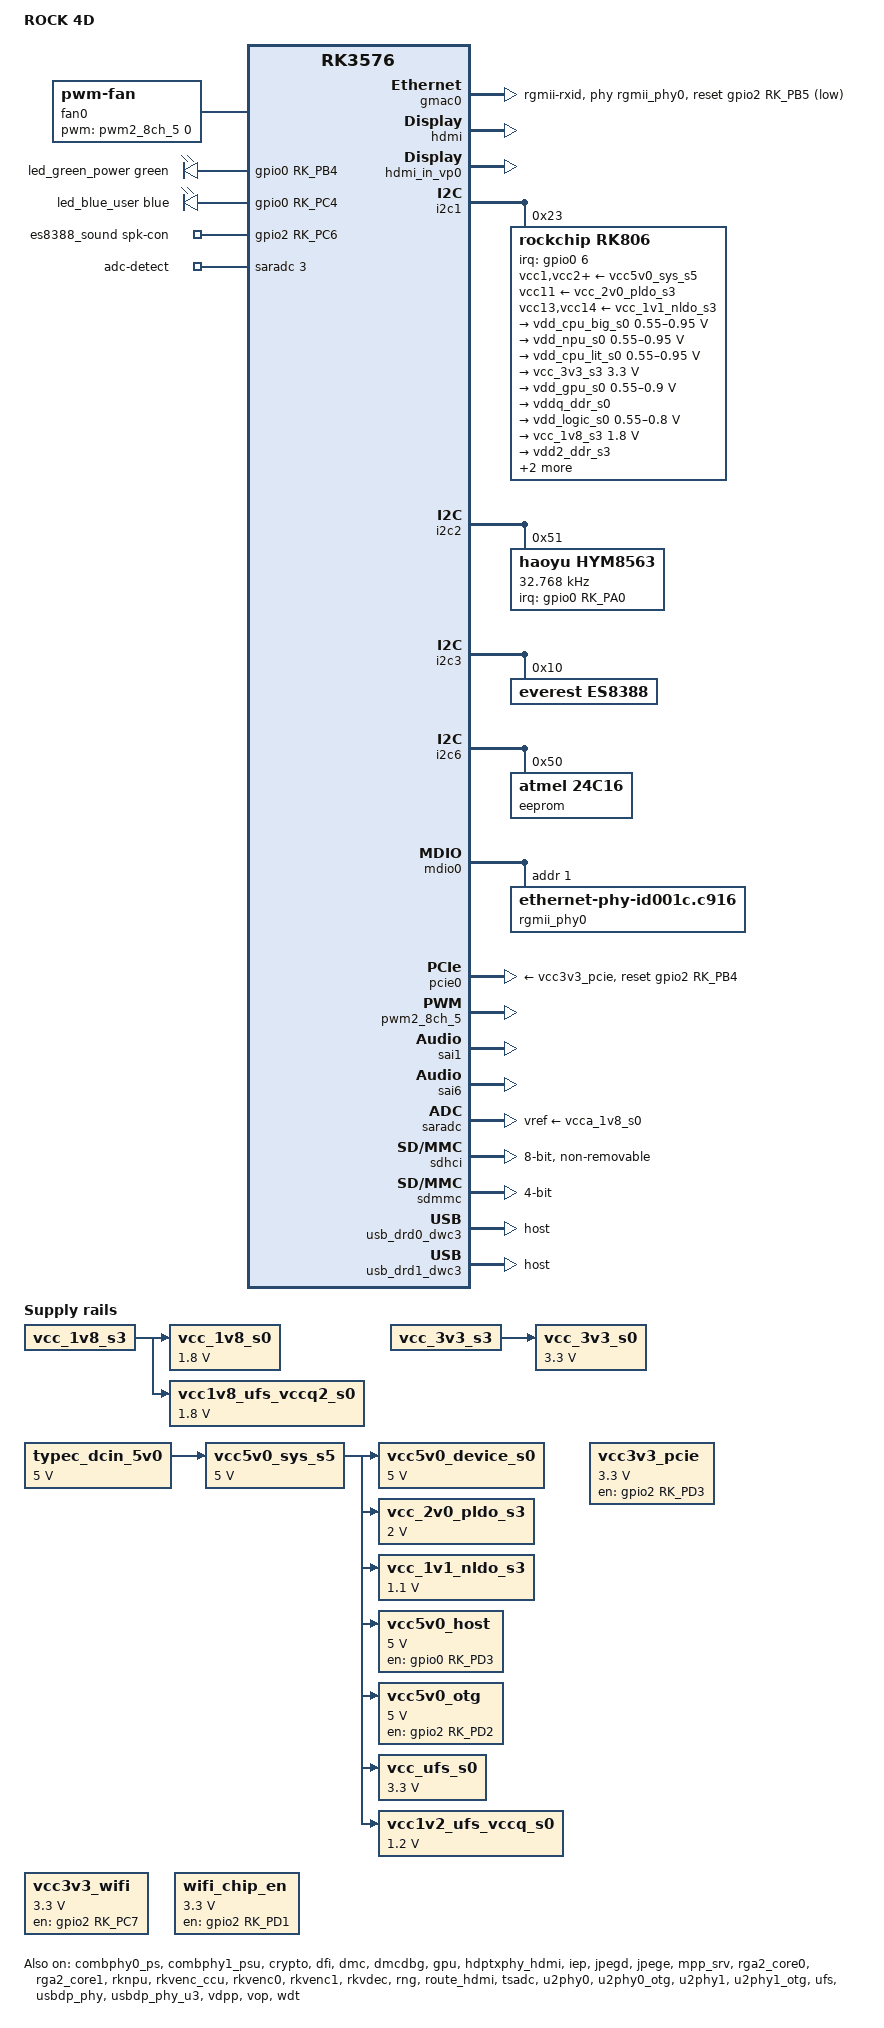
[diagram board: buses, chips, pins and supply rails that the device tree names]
// SPDX-License-Identifier: (GPL-2.0+ OR MIT)
/*
 * Copyright (c) 2024 Rockchip Electronics Co., Ltd.
 * Copyright (c) 2025 Radxa Computer (Shenzhen) Co., Ltd.
 * Copyright (c) 2026 Flippy <flippy@sina.com>
 *
 */

/dts-v1/;
#include <dt-bindings/usb/pd.h>
#include <dt-bindings/gpio/gpio.h>
#include <dt-bindings/leds/common.h>
#include <dt-bindings/pwm/pwm.h>
#include <dt-bindings/pinctrl/rockchip.h>
#include <dt-bindings/input/rk-input.h>
#include <dt-bindings/display/drm_mipi_dsi.h>
#include <dt-bindings/display/rockchip_vop.h>
#include <dt-bindings/sensor-dev.h>
#include "rk3576.dtsi"
#include "rk3576-gpio-line-names.dtsi"

/ {
	model = "ROCK 4D";
	compatible = "radxa,rock-4d", "rockchip,rk3576";

	aliases: aliases {
		mmc0 = &sdmmc;
		mmc1 = &sdhci;
		mmc2 = &sdio;
	};

	chosen: chosen {
		bootargs = "earlycon=uart8250,mmio32,0x2ad40000 console=ttyFIQ,15000000n8";
	};

	fiq_debugger: fiq-debugger {
		compatible = "rockchip,fiq-debugger";
		rockchip,serial-id = <0>;
		rockchip,wake-irq = <0>;
		/* If enable uart uses irq instead of fiq */
		rockchip,irq-mode-enable = <1>;
		rockchip,baudrate = <1500000>;  /* Only 115200 and 1500000 */
		interrupts = <GIC_SPI 389 IRQ_TYPE_LEVEL_LOW>;
		pinctrl-names = "default";
		pinctrl-0 = <&uart0m0_xfer>;
		status = "okay";
	};

	firmware {
		optee: optee {
			compatible = "linaro,optee-tz";
			method = "smc";
		};
	};

	reserved_memory: reserved-memory {
		#address-cells = <2>;
		#size-cells = <2>;
		ranges;

		/* Cma: 256MB */
		cma: cma {
			compatible = "shared-dma-pool";
			reusable;
			size = <0x0 (256 * 0x100000)>;
			linux,cma-default;
		};

		drm_logo: drm-logo@0 {
			compatible = "rockchip,drm-logo";
			reg = <0x0 0x0 0x0 0x0>;
		};

		drm_cubic_lut: drm-cubic-lut@0 {
			compatible = "rockchip,drm-cubic-lut";
			reg = <0x0 0x0 0x0 0x0>;
		};

		ramoops: ramoops@40110000 {
			compatible = "ramoops";
			/* 0x40110000 to 0x401f0000 is for ramoops */
			reg = <0x0 0x40110000 0x0 0xe0000>;
			boot-log-size = <0x8000>;	/* do not change */
			boot-log-count = <0x1>;		/* do not change */
			console-size = <0x80000>;
			pmsg-size = <0x30000>;
			ftrace-size = <0x00000>;
			record-size = <0x14000>;
		};
	};

	fan0: pwm-fan {
		compatible = "pwm-fan";
		#cooling-cells = <2>;
		cooling-levels = <0 100 125 150 200 255>;
		pwms = <&pwm2_8ch_5 0 25000 PWM_POLARITY_INVERTED>;

		rockchip,temp-trips = <
			40000    1
			50000    2
			60000    3
			65000    4
			70000    5
		>;
		status = "okay";
	};

	gpio_leds: gpio-leds {
		compatible = "gpio-leds";

		led_green_power: power-led {
			color = <LED_COLOR_ID_GREEN>;
			function = LED_FUNCTION_POWER;
			gpios = <&gpio0 RK_PB4 GPIO_ACTIVE_HIGH>;
			linux,default-trigger = "default-on";
		};

		led_blue_user: user-led {
			color = <LED_COLOR_ID_BLUE>;
			function = LED_FUNCTION_HEARTBEAT;
			gpios = <&gpio0 RK_PC4 GPIO_ACTIVE_HIGH>;
			linux,default-trigger = "heartbeat";
		};
	};

	/*
	 * TYPE-C fixed 5v power only
	 * To saradc_vin7 (up resistor=100K, down resistor=7.5K)
	 */
	typec_dcin_5v0: regulator-typec-dcin-5v0 {
		compatible = "regulator-fixed";
		regulator-name = "typec_dcin_5v0";
		regulator-always-on;
		regulator-boot-on;
		regulator-min-microvolt = <5000000>;
		regulator-max-microvolt = <5000000>;
	};

	/*
	 * BCT72901: Over-Voltage Protection Load Switch with Surge Protection
	 * The default OVP threshold is 5.95V
	 * Rdson: 30.7mR
	 * Maximum Continuous Current of switch IN-OUT: 4.5A
	 */
	vcc5v0_sys_s5: regulator-vcc5v0-sys-s5 {
		compatible = "regulator-fixed";
		regulator-name = "vcc5v0_sys_s5";
		regulator-always-on;
		regulator-boot-on;
		regulator-min-microvolt = <5000000>;
		regulator-max-microvolt = <5000000>;
		vin-supply = <&typec_dcin_5v0>;
	};

	/*
	 * TBL3401(AO3401): PMOS SOT-23-3L -20V -3A 80mR
	 */
	vcc5v0_device_s0: regulator-vcc5v0-device-s0 {
		compatible = "regulator-fixed";
		regulator-name = "vcc5v0_device_s0";
		regulator-always-on;
		regulator-boot-on;
		regulator-min-microvolt = <5000000>;
		regulator-max-microvolt = <5000000>;
		vin-supply = <&vcc5v0_sys_s5>;
	};

	/*
	 * TMI3112H:
	 * PWM: 2.3Mhz
	 * Input voltage range: 2.7V to 5.5V
	 * Max output currency: 2A
	 */
	vcc_2v0_pldo_s3: regulator-vcc-2v0-pldo-s3 {
		compatible = "regulator-fixed";
		regulator-name = "vcc_2v0_pldo_s3";
		regulator-boot-on;
		regulator-always-on;
		regulator-min-microvolt = <2000000>;
		regulator-max-microvolt = <2000000>;
		vin-supply = <&vcc5v0_sys_s5>;
	};

	/*
	 * TMI3112H:
	 * PWM: 2.3Mhz
	 * Input voltage range: 2.7V to 5.5V
	 * Max output currency: 2A
	 */
	vcc_1v1_nldo_s3: regulator-vcc-1v1-nldo-s3 {
		compatible = "regulator-fixed";
		regulator-name = "vcc_1v1_nldo_s3";
		regulator-boot-on;
		regulator-always-on;
		regulator-min-microvolt = <1100000>;
		regulator-max-microvolt = <1100000>;
		vin-supply = <&vcc5v0_sys_s5>;
	};

	/*
	 * WNM2016-3 (NMOS) SOT-23-5L 20V 3.2A 28mR
	 */
	vcc_1v8_s0: regulator-vcc-1v8-s0 {
		compatible = "regulator-fixed";
		regulator-name = "vcc_1v8_s0";
		regulator-boot-on;
		regulator-always-on;
		regulator-min-microvolt = <1800000>;
		regulator-max-microvolt = <1800000>;
		vin-supply = <&vcc_1v8_s3>;
	};

	/*
	 * SGM2590D: SOT-23-5 power distribution switch
	 * Input voltage range: 2.5V to 6V
	 * Current limit range: 0.1A to 3A
	 * Rilim: 2.2kR
	 */
	vcc_3v3_s0: regulator-vcc-3v3-s0 {
		compatible = "regulator-fixed";
		regulator-name = "vcc_3v3_s0";
		regulator-boot-on;
		regulator-always-on;
		regulator-min-microvolt = <3300000>;
		regulator-max-microvolt = <3300000>;
		vin-supply = <&vcc_3v3_s3>;
	};

	/*
	 * SY6280AAC
	 */
	vcc5v0_host: regulator-vcc5v0-host {
		compatible = "regulator-fixed";
		regulator-name = "vcc5v0_host";
		regulator-boot-on;
		regulator-always-on;
		regulator-min-microvolt = <5000000>;
		regulator-max-microvolt = <5000000>;
		enable-active-high;
		gpio = <&gpio0 RK_PD3 GPIO_ACTIVE_HIGH>;
		pinctrl-names = "default";
		pinctrl-0 = <&usb_host_pwren>;
		vin-supply = <&vcc5v0_sys_s5>;
	};

	/*
	 * SY6280AAC
	 */
	vcc5v0_otg: regulator-vcc5v0-otg {
		compatible = "regulator-fixed";
		regulator-name = "vcc5v0_otg";
		regulator-min-microvolt = <5000000>;
		regulator-max-microvolt = <5000000>;
		enable-active-high;
		gpio = <&gpio2 RK_PD2 GPIO_ACTIVE_HIGH>;
		pinctrl-names = "default";
		pinctrl-0 = <&usb_otg_pwren>;
		vin-supply = <&vcc5v0_sys_s5>;
	};

	/*
	 * TMI3112H:
	 * PWM: 2.3Mhz
	 * Input voltage range: 2.7V to 5.5V
	 * Max output currency: 2A
	 */
	vcc_ufs_s0: regulator-vcc-ufs-s0 {
		compatible = "regulator-fixed";
		regulator-name = "vcc_ufs_s0";
		regulator-boot-on;
		regulator-always-on;
		regulator-min-microvolt = <3300000>;
		regulator-max-microvolt = <3300000>;
		vin-supply = <&vcc5v0_sys_s5>;
	};

	/*
	 * TMI3112H:
	 * PWM: 2.3Mhz
	 * Input voltage range: 2.7V to 5.5V
	 * Max output currency: 2A
	 */
	vcc1v2_ufs_vccq_s0: regulator-vcc1v2-ufs-vccq-s0 {
		compatible = "regulator-fixed";
		regulator-name = "vcc1v2_ufs_vccq_s0";
		regulator-boot-on;
		regulator-always-on;
		regulator-min-microvolt = <1200000>;
		regulator-max-microvolt = <1200000>;
		vin-supply = <&vcc5v0_sys_s5>;
	};

	/*
	 * WNM2015-3 (PMOS) SOT-23-5L -20V -2.4A
	 */
	vcc1v8_ufs_vccq2_s0: vcc1v8-ufs-vccq2-s0 {
		compatible = "regulator-fixed";
		regulator-name = "vcc1v8_ufs_vccq2_s0";
		regulator-boot-on;
		regulator-always-on;
		regulator-min-microvolt = <1800000>;
		regulator-max-microvolt = <1800000>;
		vin-supply = <&vcc_1v8_s3>;
	};

	/*
	 * extend board
	 */
	vcc3v3_pcie: regulator-vcc3v3-pcie {
		compatible = "regulator-fixed";
		regulator-name = "vcc3v3_pcie";
		regulator-min-microvolt = <3300000>;
		regulator-max-microvolt = <3300000>;
		enable-active-high;
		gpios = <&gpio2 RK_PD3 GPIO_ACTIVE_HIGH>;
		startup-delay-us = <5000>;
		pinctrl-names = "default";
		pinctrl-0 = <&pcie_pwr_en>;
	};

	/*
	 * WPM2015-3/TR: PMOS -20V -2.4A 110mR
	 */
	vcc3v3_wifi: regulator-vcc3v3-wifi {
		compatible = "regulator-fixed";
		regulator-name = "vcc3v3_wifi";
		regulator-min-microvolt = <3300000>;
		regulator-max-microvolt = <3300000>;
		regulator-boot-on;
		regulator-always-on;
		enable-active-high;
		gpios = <&gpio2 RK_PC7 GPIO_ACTIVE_HIGH>;
		startup-delay-us = <5000>;
		pinctrl-names = "default";
		pinctrl-0 = <&usb_wifi_power_en>;
	};

	/*
	 * Wifi chip: Quectel FCU760K
	 * pin 18: CHIP_EN
	 */
	wifi_chip_en: wifi-chip-en {
		compatible = "regulator-fixed";
		regulator-name = "wifi_chip_en";
		regulator-min-microvolt = <3300000>;
		regulator-max-microvolt = <3300000>;
		regulator-boot-on;
		regulator-always-on;
		enable-active-high;
		gpios = <&gpio2 RK_PD1 GPIO_ACTIVE_HIGH>;
		startup-delay-us = <5000>;
		pinctrl-names = "default";
		pinctrl-0 = <&wifi_chip_en_pin>;
	};

	hdmi_sound: hdmi-sound {
		compatible = "rockchip,hdmi";
		rockchip,mclk-fs = <128>;
		rockchip,card-name = "rockchip-hdmi0";
		rockchip,cpu = <&sai6>;
		rockchip,codec = <&hdmi>;
		rockchip,jack-det;
	};

	es8388_sound: es8388-sound {
		status = "okay";
		compatible = "rockchip,multicodecs-card";
		rockchip,card-name = "rockchip-es8388";
		io-channels = <&saradc 3>;
		io-channel-names = "adc-detect";
		keyup-threshold-microvolt = <1800000>;
		poll-interval = <100>;
		spk-con-gpio = <&gpio2 RK_PC6 GPIO_ACTIVE_HIGH>;
		rockchip,pre-power-on-delay-ms = <30>;
		rockchip,post-power-down-delay-ms = <40>;
		rockchip,format = "i2s";
		rockchip,mclk-fs = <256>;
		rockchip,cpu = <&sai1>;
		rockchip,codec = <&es8388>;
		rockchip,audio-routing =
			"Headphone", "LOUT1",
			"Headphone", "ROUT1",
			"Speaker", "LOUT2",
			"Speaker", "ROUT2",
			"Headphone", "Headphone Power",
			"Headphone", "Headphone Power",
			"Speaker", "Speaker Power",
			"Speaker", "Speaker Power",
			"LINPUT1", "Main Mic",
			"LINPUT2", "Main Mic",
			"RINPUT1", "Headset Mic",
			"RINPUT2", "Headset Mic";
	};
};

&combphy0_ps {
	status = "okay";
};

&combphy1_psu {
	status = "okay";
};

&cpu_l0 {
	cpu-supply = <&vdd_cpu_lit_s0>;
};

&cpu_b0 {
	cpu-supply = <&vdd_cpu_big_s0>;
};

&crypto {
	status = "okay";
};

/* CAM_31P FPC -> MIPI1 */
&csi2_dphy0 {
	status = "disabled";

	ports {
		#address-cells = <1>;
		#size-cells = <0>;
		port@0 {
			reg = <0>;
			#address-cells = <1>;
			#size-cells = <0>;

			csi2_dphy0_in1: endpoint@1 {
				reg = <1>;
				remote-endpoint = <&i2c5_imx415_out>;
				data-lanes = <1 2 3 4>;
			};
		};

		port@1 {
			reg = <1>;
			#address-cells = <1>;
			#size-cells = <0>;

			csi2_dphy0_out: endpoint@0 {
				reg = <0>;
				remote-endpoint = <&mipi1_csi2_in>;
			};
		};
	};
};

&dfi {
	status = "okay";
};

&display_subsystem {
	clocks = <&hdptxphy_hdmi>;
	clock-names = "hdmi0_phy_pll";
	memory-region = <&drm_logo>, <&drm_cubic_lut>;
	memory-region-names = "drm-logo", "drm-cubic-lut";
	devfreq = <&dmc>;
};

&dmc {
	status = "okay";
	center-supply = <&vdd_ddr_s0>;
	mem-supply = <&vdd_logic_s0>;
};

&dmcdbg {
	status = "okay";
};

&gmac0 {
	clock_in_out = "output";

	phy-handle = <&rgmii_phy0>;
	/* Use rgmii-rxid mode to disable rx delay inside Soc */
	phy-mode = "rgmii-rxid";

	pinctrl-names = "default";
	pinctrl-0 = <&eth0m0_miim
		     &eth0m0_tx_bus2
		     &eth0m0_rx_bus2
		     &eth0m0_rgmii_clk
		     &eth0m0_rgmii_bus
		     &ethm0_clk0_25m_out>;

	tx_delay = <0x20>;
	/* rx_delay = <0x3f>; */

	snps,reset-gpio = <&gpio2 RK_PB5 GPIO_ACTIVE_LOW>;
	snps,reset-active-low;
	/* Reset time is 20ms, 100ms for rtl8211f */
	snps,reset-delays-us = <0 20000 100000>;

	status = "okay";
};

&gpu {
	mali-supply = <&vdd_gpu_s0>;
	status = "okay";
};

&hdmi {
	//cec-enable;

	/* DDC I2C speed: 50khz */
	//ddc-i2c-scl-high-time-ns = <9625>;
	//ddc-i2c-scl-low-time-ns = <10000>;

	/* DDC I2C speed: 100khz */
	//ddc-i2c-scl-high-time-ns = <4812>;
	//ddc-i2c-scl-low-time-ns = <5000>;

	enable-gpios = <&gpio2 RK_PB0 GPIO_ACTIVE_HIGH>;
	status = "okay";
};

&hdmi_in_vp0 {
	status = "okay";
};

&hdptxphy_hdmi {
	status = "okay";
};

&i2c1 {
	status = "okay";

	rk806: pmic@23 {
		compatible = "rockchip,rk806";
		reg = <0x23>;

		interrupt-parent = <&gpio0>;
		interrupts = <6 IRQ_TYPE_LEVEL_LOW>;

		pinctrl-names = "default";
		pinctrl-0 = <&pmic_pins>;

		/* 2800mv-3500mv */
		low_voltage_threshold = <3000>;
		/* 2700mv-3400mv */
		shutdown_voltage_threshold = <2700>;
		/* 140 160 */
		shutdown_temperture_threshold = <160>;
		hotdie_temperture_threshold = <115>;
		/* shutdown sequence */
		shutdown-sequence = <2 2 2 0 2 0 2 1 1 2
					2 2 2 2 2
					1 0 0 0 0 2>;

		/* low power forced shutdown sequence */
		vb-shutdown-sequence = <2 2 2 0 2 0 2 0 0 2
					2 2 2 2 2
					0 0 0 0 0 2>;

		/* 0: restart PMU;
		 * 1: reset all the power off reset registers,
		 *    forcing the state to switch to ACTIVE mode;
		 * 2: Reset all the power off reset registers,
		 *    forcing the state to switch to ACTIVE mode,
		 *    and simultaneously pull down the RESETB PIN for 5mS before releasing
		 */
		pmic-reset-func = <1>;
		/* buck5 external feedback resister disable */
		buck5-feedback-disable;

		vcc1-supply = <&vcc5v0_sys_s5>;
		vcc2-supply = <&vcc5v0_sys_s5>;
		vcc3-supply = <&vcc5v0_sys_s5>;
		vcc4-supply = <&vcc5v0_sys_s5>;
		vcc5-supply = <&vcc5v0_sys_s5>;
		vcc6-supply = <&vcc5v0_sys_s5>;
		vcc7-supply = <&vcc5v0_sys_s5>;
		vcc8-supply = <&vcc5v0_sys_s5>;
		vcc9-supply = <&vcc5v0_sys_s5>;
		vcc10-supply = <&vcc5v0_sys_s5>;
		vcc11-supply = <&vcc_2v0_pldo_s3>;
		vcc12-supply = <&vcc5v0_sys_s5>;
		vcc13-supply = <&vcc_1v1_nldo_s3>;
		vcc14-supply = <&vcc_1v1_nldo_s3>;
		vcca-supply = <&vcc5v0_sys_s5>;

		pwrkey {
			status = "okay";
		};

		regulators {
			vdd_cpu_big_s0: DCDC_REG1 {
				regulator-always-on;
				regulator-boot-on;
				regulator-init-microvolt = <850000>;
				regulator-min-microvolt = <550000>;
				regulator-max-microvolt = <950000>;
				regulator-ramp-delay = <12500>;
				regulator-name = "vdd_cpu_big_s0";
				regulator-enable-ramp-delay = <400>;
				regulator-state-mem {
					regulator-off-in-suspend;
				};
			};

			vdd_npu_s0: DCDC_REG2 {
				regulator-boot-on;
				regulator-min-microvolt = <550000>;
				regulator-max-microvolt = <950000>;
				regulator-ramp-delay = <12500>;
				regulator-name = "vdd_npu_s0";
				regulator-enable-ramp-delay = <400>;
				regulator-state-mem {
					regulator-off-in-suspend;
				};
			};

			vdd_cpu_lit_s0: DCDC_REG3 {
				regulator-always-on;
				regulator-boot-on;
				regulator-init-microvolt = <850000>;
				regulator-min-microvolt = <550000>;
				regulator-max-microvolt = <950000>;
				regulator-ramp-delay = <12500>;
				regulator-name = "vdd_cpu_lit_s0";
				regulator-state-mem {
					regulator-off-in-suspend;
					regulator-suspend-microvolt = <750000>;
				};
			};

			vcc_3v3_s3: DCDC_REG4 {
				regulator-always-on;
				regulator-boot-on;
				regulator-min-microvolt = <3300000>;
				regulator-max-microvolt = <3300000>;
				regulator-name = "vcc_3v3_s3";
				regulator-state-mem {
					regulator-on-in-suspend;
					regulator-suspend-microvolt = <3300000>;
				};
			};

			vdd_gpu_s0: DCDC_REG5 {
				regulator-boot-on;
				regulator-init-microvolt = <750000>;
				regulator-min-microvolt = <550000>;
				regulator-max-microvolt = <900000>;
				regulator-ramp-delay = <12500>;
				regulator-name = "vdd_gpu_s0";
				regulator-enable-ramp-delay = <400>;
				regulator-state-mem {
					regulator-off-in-suspend;
					regulator-suspend-microvolt = <850000>;
				};
			};

			vddq_ddr_s0: DCDC_REG6 {
				regulator-always-on;
				regulator-boot-on;
				regulator-name = "vddq_ddr_s0";
				regulator-state-mem {
					regulator-off-in-suspend;
				};
			};

			vdd_logic_s0: vdd_log_mem_s0: DCDC_REG7 {
				regulator-always-on;
				regulator-boot-on;
				regulator-init-microvolt = <750000>;
				regulator-min-microvolt = <550000>;
				regulator-max-microvolt = <800000>;
				regulator-name = "vdd_logic_s0";
				regulator-state-mem {
					regulator-on-in-suspend;
				};
			};

			vcc_1v8_s3: DCDC_REG8 {
				regulator-always-on;
				regulator-boot-on;
				regulator-min-microvolt = <1800000>;
				regulator-max-microvolt = <1800000>;
				regulator-name = "vcc_1v8_s3";
				regulator-state-mem {
					regulator-on-in-suspend;
					regulator-suspend-microvolt = <1800000>;
				};
			};

			vdd2_ddr_s3: DCDC_REG9 {
				regulator-always-on;
				regulator-boot-on;
				regulator-name = "vdd2_ddr_s3";
				regulator-state-mem {
					regulator-on-in-suspend;
				};
			};

			vdd_ddr_s0: DCDC_REG10 {
				regulator-always-on;
				regulator-boot-on;
				regulator-min-microvolt = <550000>;
				regulator-max-microvolt = <1200000>;
				regulator-name = "vdd_ddr_s0";
				regulator-state-mem {
					regulator-off-in-suspend;
				};
			};

			vcca_1v8_s0: PLDO_REG1 {
				regulator-always-on;
				regulator-boot-on;
				regulator-min-microvolt = <1800000>;
				regulator-max-microvolt = <1800000>;
				regulator-name = "vcca_1v8_s0";
				regulator-state-mem {
					regulator-on-in-suspend;
				};
			};

			vcca1v8_pldo2_s0: PLDO_REG2 {
				regulator-always-on;
				regulator-boot-on;
				regulator-min-microvolt = <1800000>;
				regulator-max-microvolt = <1800000>;
				regulator-name = "vcca1v8_pldo2_s0";
				regulator-state-mem {
					regulator-off-in-suspend;
				};
			};

			vdda_1v2_s0: PLDO_REG3 {
				regulator-always-on;
				regulator-boot-on;
				regulator-min-microvolt = <1200000>;
				regulator-max-microvolt = <1200000>;
				regulator-name = "vdda_1v2_s0";
				regulator-state-mem {
					regulator-off-in-suspend;
				};
			};

			vcca_3v3_s0: PLDO_REG4 {
				regulator-always-on;
				regulator-boot-on;
				regulator-min-microvolt = <3300000>;
				regulator-max-microvolt = <3300000>;
				regulator-name = "vcca_3v3_s0";
				regulator-state-mem {
					regulator-off-in-suspend;
				};
			};

			vccio_sd_s0: PLDO_REG5 {
				regulator-always-on;
				regulator-boot-on;
				regulator-min-microvolt = <1800000>;
				regulator-max-microvolt = <3300000>;
				regulator-name = "vccio_sd_s0";
				regulator-state-mem {
					regulator-off-in-suspend;
				};
			};

			vcca1v8_pldo6_s3: PLDO_REG6 {
				regulator-always-on;
				regulator-boot-on;
				regulator-min-microvolt = <1800000>;
				regulator-max-microvolt = <1800000>;
				regulator-name = "vcca1v8_pldo6_s3";
				regulator-state-mem {
					regulator-on-in-suspend;
					regulator-suspend-microvolt = <1800000>;
				};
			};

			vdd_0v75_s3: NLDO_REG1 {
				regulator-always-on;
				regulator-boot-on;
				regulator-min-microvolt = <750000>;
				regulator-max-microvolt = <750000>;
				regulator-name = "vdd_0v75_s3";
				regulator-state-mem {
					regulator-on-in-suspend;
					regulator-suspend-microvolt = <750000>;
				};
			};

			vdda_ddr_pll_s0: NLDO_REG2 {
				regulator-always-on;
				regulator-boot-on;
				regulator-min-microvolt = <850000>;
				regulator-max-microvolt = <850000>;
				regulator-name = "vdda_ddr_pll_s0";
				regulator-state-mem {
					regulator-off-in-suspend;
				};
			};

			vdda0v75_hdmi_s0: NLDO_REG3 {
				regulator-always-on;
				regulator-boot-on;
				regulator-min-microvolt = <837500>;
				regulator-max-microvolt = <837500>;
				regulator-name = "vdda0v75_hdmi_s0";
				regulator-state-mem {
					regulator-off-in-suspend;
				};
			};

			vdda_0v85_s0: NLDO_REG4 {
				regulator-always-on;
				regulator-boot-on;
				regulator-min-microvolt = <850000>;
				regulator-max-microvolt = <850000>;
				regulator-name = "vdda_0v85_s0";
				regulator-state-mem {
					regulator-off-in-suspend;
				};
			};

			vdda_0v75_s0: NLDO_REG5 {
				regulator-always-on;
				regulator-boot-on;
				regulator-min-microvolt = <750000>;
				regulator-max-microvolt = <750000>;
				regulator-name = "vdda_0v75_s0";
				regulator-state-mem {
					regulator-off-in-suspend;
				};
			};
		};
	};
};

&i2c2 {
	status = "okay";

	hym8563: hym8563@51 {
		compatible = "haoyu,hym8563";
		reg = <0x51>;
		#clock-cells = <0>;
		clock-frequency = <32768>;
		clock-output-names = "hym8563";
		pinctrl-names = "default";
		pinctrl-0 = <&hym8563_int>, <&clk_32k_pins>;
		interrupt-parent = <&gpio0>;
		interrupts = <RK_PA0 IRQ_TYPE_LEVEL_LOW>;
		wakeup-source;
	};
};

&i2c3 {
	status = "okay";

	es8388: es8388@10 {
		status = "okay";
		#sound-dai-cells = <0>;
		compatible = "everest,es8388", "everest,es8323";
		reg = <0x10>;
		clocks = <&mclkout_sai1>;
		clock-names = "mclk";
		assigned-clocks = <&mclkout_sai1>;
		assigned-clock-rates = <12288000>;
		pinctrl-names = "default";
		pinctrl-0 = <&sai1m0_mclk>;
	};
};

&i2c5 {
	#address-cells = <1>;
	#size-cells = <0>;
	pinctrl-0 = <&i2c5m3_xfer>;
	status = "disabled";

	i2c5_imx415: imx415@1a {
		compatible = "sony,imx415";
		reg = <0x1a>;

		clocks = <&cru CLK_MIPI_CAMERAOUT_M1>; //0x39 for cam0
		//clocks = <&cru CLK_MIPI_CAMERAOUT_M0>; //0x38 for cam1
		clock-names = "xvclk";

		pinctrl-names = "default";
		pinctrl-0 = <&cam_clk1m0_clk1>; // GPIO4_A0 for cam0
		//pinctrl-0 = <&cam_clk0m0_clk0>; // GPIO3_D7 for cam1

		power-domains = <&power RK3576_PD_VI>;
		pwdn-gpios = <&gpio3 RK_PD0 GPIO_ACTIVE_HIGH>; // for cam0
		//pwdn-gpios = <&gpio3 RK_PC5 GPIO_ACTIVE_HIGH>; // for cam1
		reset-gpios = <&gpio3 RK_PC7 GPIO_ACTIVE_LOW>;

		rockchip,camera-hdr-mode = <5>; //HDR_X2
		rockchip,camera-module-index = <0>;
		rockchip,camera-module-facing = "back";
		rockchip,camera-module-name = "RADXA-CAMERA-4K";
		rockchip,camera-module-lens-name = "DEFAULT";

		status = "disabled";

		port {
			i2c5_imx415_out: endpoint {
				remote-endpoint = <&csi2_dphy0_in1>;
				data-lanes = <1 2 3 4>;
			};
		};
	};
};

&i2c6 {
	status = "okay";
	pinctrl-names = "default";
	pinctrl-0 = <&i2c6m3_xfer>;

	eeprom:	at24c16@50 {
		status = "okay";
		compatible = "atmel,24c16";
		reg = <0x50>;
		pagesize = <16>;
	};
};

&iep {
	status = "okay";
};

&iep_mmu {
	status = "okay";
};

&jpegd {
	status = "okay";
};

&jpege {
	status = "okay";
};

&jpeg_mmu {
	status = "okay";
};

&little_core_thermal {
	sustainable-power = <5000>; /* milliwatts */

	trips {
		fan_trip_40: fan-trip-40 {
			temperature = <40000>;
			hysteresis = <2000>;
			type = "passive";
		};
		fan_trip_50: fan-trip-50 {
			temperature = <50000>;
			hysteresis = <2000>;
			type = "passive";
		};
		fan_trip_65: fan-trip-65 {
			temperature = <65000>;
			hysteresis = <2000>;
			type = "passive";
		};
		fan_trip_70: fan-trip-70 {
			temperature = <70000>;
			hysteresis = <2000>;
			type = "passive";
		};
	};

	cooling-maps {
		/* 40°C → state 1 (cooling-levels[1]=100) */
		map3 {
			trip = <&fan_trip_40>;
			cooling-device = <&fan0 1 1>;
			contribution = <8192>;
		};
		/* 50°C → state 2 (cooling-levels[2]=125) */
		map4 {
			trip = <&fan_trip_50>;
			cooling-device = <&fan0 2 2>;
			contribution = <8192>;
		};
		/* 60°C → state 3 (cooling-levels[3]=150), threshold overridden */
		map5 {
			trip = <&threshold>;
			cooling-device = <&fan0 3 3>;
			contribution = <8192>;
		};
		/* 65°C → state 4 (cooling-levels[4]=200) */
		map6 {
			trip = <&fan_trip_65>;
			cooling-device = <&fan0 4 4>;
			contribution = <8192>;
		};
		/* 70°C → state 5 (cooling-levels[5]=255) */
		map7 {
			trip = <&fan_trip_70>;
			cooling-device = <&fan0 5 5>;
			contribution = <8192>;
		};
	};
};

&mdio0 {
	rgmii_phy0: phy@1 {
		clocks = <&cru REFCLKO25M_GMAC0_OUT>;
		compatible = "ethernet-phy-id001c.c916";
		reg = <0x1>;
	};
};

/* mipi1 -> lvds1 */
&mipi1_csi2 {
	status = "disabled";

	ports {
		#address-cells = <1>;
		#size-cells = <0>;

		port@0 {
			reg = <0>;
			#address-cells = <1>;
			#size-cells = <0>;

			mipi1_csi2_in: endpoint@1 {
				reg = <1>;
				remote-endpoint = <&csi2_dphy0_out>;
			};
		};

		port@1 {
			reg = <1>;
			#address-cells = <1>;
			#size-cells = <0>;

			mipi1_csi2_out: endpoint@0 {
				reg = <0>;
				remote-endpoint = <&rkcif_mipi_lvds1_in>;
			};
		};
	};
};

&mpp_srv {
	status = "okay";
};

&pcie0 {
	reset-gpios = <&gpio2 RK_PB4 GPIO_ACTIVE_HIGH>;
	rockchip,skip-scan-in-resume;
	vpcie3v3-supply = <&vcc3v3_pcie>;
	status = "okay";
};

&pinctrl {
	usb {
		usb_host_pwren: usb-host-pwren {
			rockchip,pins = <0 RK_PD3 RK_FUNC_GPIO &pcfg_pull_none>;
		};

		usb_otg_pwren: usb-otg-pwren {
			rockchip,pins = <2 RK_PD2 RK_FUNC_GPIO &pcfg_pull_none>;
		};
	};

	hym8563 {
		hym8563_int: hym8563-int {
			rockchip,pins = <0 RK_PA0 RK_FUNC_GPIO &pcfg_pull_up>;
		};
	};

	pcie {
		pcie_pwr_en: pcie-pwr-en {
			rockchip,pins = <2 RK_PD3 RK_FUNC_GPIO &pcfg_pull_none>;
		};
	};

	wifi {
		usb_wifi_power_en: usb-wifi-power-en {
			rockchip,pins = <2 RK_PC7 RK_FUNC_GPIO &pcfg_pull_none>;
		};

		wifi_chip_en_pin: wifi-chip-en-pin {
			rockchip,pins = <2 RK_PD1 RK_FUNC_GPIO &pcfg_pull_none>;
		};
	};
};

&pwm2_8ch_5 {
	pinctrl-0 = <&pwm2m1_ch5>;
	status = "okay";
};

&rga2_core0 {
	status = "okay";
};

&rga2_core0_mmu {
	status = "okay";
};

&rga2_core1 {
	status = "okay";
};

&rga2_core1_mmu {
	status = "okay";
};

&rkcif {
	status = "disabled";
};

&rkcif_mipi_lvds1 {
	status = "disabled";

	port {
		rkcif_mipi_lvds1_in: endpoint {
			remote-endpoint = <&mipi1_csi2_out>;
		};
	};
};

&rkcif_mipi_lvds1_sditf {
	status = "disabled";

	port {
		rkcif_mipi_lvds1_sditf_out: endpoint {
			remote-endpoint = <&rkisp_vir1_in>;
		};
	};
};

&rkcif_mmu {
	status = "disabled";
};

&rkisp {
	status = "disabled";
};

&rkisp_mmu {
	status = "disabled";
};

&rkisp_vir1 {
	status = "disabled";

	port {
		#address-cells = <1>;
		#size-cells = <0>;

		rkisp_vir1_in: endpoint@0 {
			reg = <0>;
			remote-endpoint = <&rkcif_mipi_lvds1_sditf_out>;
		};
	};
};

&rkisp_vir1_sditf {
	status = "disabled";
};

&rknpu {
	rknpu-supply = <&vdd_npu_s0>;
	status = "okay";
};

&rknpu_mmu {
	status = "okay";
};

&rkvenc_ccu {
	status = "okay";
};

&rkvenc0 {
	status = "okay";
};

&rkvenc0_mmu {
	status = "okay";
};

&rkvenc1 {
	status = "okay";
};

&rkvenc1_mmu {
	status = "okay";
};

&rkvdec {
	status = "okay";
};

&rkvdec_mmu {
	status = "okay";
};

&rkvpss {
	status = "disabled";
};

&rkvpss_mmu {
	status = "disabled";
};

&rkvpss_vir1 {
	status = "disabled";
};

&rockchip_suspend {
	status = "okay";
	rockchip,sleep-debug-en = <1>;

	rockchip,sleep-io-ret-config = <
		(0
		| RKPM_VCCIO3_RET_EN
		)
	>;

	rockchip,regulator-on-before-mem = <&vdd_npu_s0>;
};

&rng {
	status = "okay";
};

&route_hdmi {
	status = "okay";
	logo,uboot = "logo.bmp";
	logo,kernel = "logo_kernel.bmp";
	connect = <&vp0_out_hdmi>;
};

&sai1 {
	status = "okay";
	pinctrl-names = "default";
	pinctrl-0 = <&sai1m0_lrck
		     &sai1m0_sclk
		     &sai1m0_sdi0
		     &sai1m0_sdo0>;
};

&sai6 {
	status = "okay";
};

&saradc {
	status = "okay";
	vref-supply = <&vcca_1v8_s0>;
};

&sdhci {
	bus-width = <8>;
	no-sdio;
	no-sd;
	non-removable;
	max-frequency = <200000000>;
	mmc-hs400-1_8v;
	mmc-hs400-enhanced-strobe;
	full-pwr-cycle-in-suspend;
	status = "okay";
};

&sdmmc {
	max-frequency = <200000000>;
	no-sdio;
	no-mmc;
	bus-width = <4>;
	cap-mmc-highspeed;
	cap-sd-highspeed;
	disable-wp;
	sd-uhs-sdr104;
	vqmmc-supply = <&vccio_sd_s0>;
	status = "okay";
};

&threshold {
	temperature = <60000>;
};

&tsadc {
	status = "okay";
};

&u2phy0 {
	status = "okay";
};

&u2phy0_otg {
	vbus-supply = <&vcc5v0_otg>;
	status = "okay";
};

&u2phy1 {
	status = "okay";
};

&u2phy1_otg {
	phy-supply = <&vcc5v0_host>;
	status = "okay";
};

&ufs {
	reset-gpios = <&gpio4 RK_PD0 GPIO_ACTIVE_HIGH>;
	vcc-supply = <&vcc_ufs_s0>;
	vccq-supply = <&vcc1v2_ufs_vccq_s0>;
	vccq2-supply = <&vcc1v8_ufs_vccq2_s0>;
	status = "okay";
};

&usb_drd0_dwc3 {
	extcon = <&u2phy0>;
	dr_mode = "host";
	status = "okay";
};

&usbdp_phy {
	rockchip,dp-lane-mux = <2 3>;
	status = "okay";
};

&usbdp_phy_dp {
	status = "disabled";
};

&usbdp_phy_u3 {
	status = "okay";
};

&usb_drd1_dwc3 {
	dr_mode = "host";
	status = "okay";
};

&vdpp {
	status = "okay";
};

&vop {
	status = "okay";
	vop-supply = <&vdd_logic_s0>;
};

&vop_mmu {
	status = "okay";
};

&vp0 {
	rockchip,plane-mask = <(1 << ROCKCHIP_VOP2_CLUSTER0 | 1 << ROCKCHIP_VOP2_ESMART0)>;
	rockchip,primary-plane = <ROCKCHIP_VOP2_CLUSTER0>;
	cursor-win-id = <ROCKCHIP_VOP2_ESMART0>;
};

&vp1 {
	rockchip,plane-mask = <(1 << ROCKCHIP_VOP2_CLUSTER1 | 1 << ROCKCHIP_VOP2_ESMART1)>;
	rockchip,primary-plane = <ROCKCHIP_VOP2_CLUSTER1>;
	cursor-win-id = <ROCKCHIP_VOP2_ESMART1>;
};

&vp2 {
	assigned-clocks = <&cru DCLK_VP2_SRC>;
	assigned-clock-parents = <&cru PLL_VPLL>;
	rockchip,plane-mask = <(1 << ROCKCHIP_VOP2_ESMART2 | 1 << ROCKCHIP_VOP2_ESMART3)>;
	rockchip,primary-plane = <ROCKCHIP_VOP2_ESMART2>;
	cursor-win-id = <ROCKCHIP_VOP2_ESMART3>;
};

&wdt {
	status = "okay";
};
